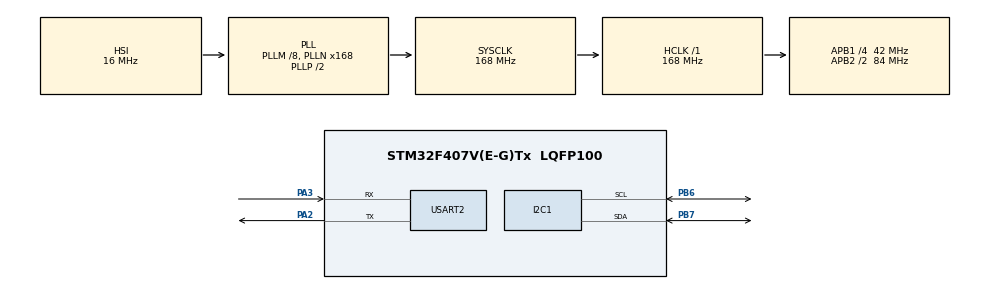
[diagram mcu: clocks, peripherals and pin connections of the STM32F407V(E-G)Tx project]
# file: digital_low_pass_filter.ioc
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Dma.I2C1_RX.1.Direction=DMA_PERIPH_TO_MEMORY
Dma.I2C1_RX.1.FIFOMode=DMA_FIFOMODE_DISABLE
Dma.I2C1_RX.1.Instance=DMA1_Stream0
Dma.I2C1_RX.1.MemDataAlignment=DMA_MDATAALIGN_BYTE
Dma.I2C1_RX.1.MemInc=DMA_MINC_ENABLE
Dma.I2C1_RX.1.Mode=DMA_NORMAL
Dma.I2C1_RX.1.PeriphDataAlignment=DMA_PDATAALIGN_BYTE
Dma.I2C1_RX.1.PeriphInc=DMA_PINC_DISABLE
Dma.I2C1_RX.1.Priority=DMA_PRIORITY_LOW
Dma.Request0=USART2_TX
Dma.Request1=I2C1_RX
Dma.USART2_TX.0.Direction=DMA_MEMORY_TO_PERIPH
Dma.USART2_TX.0.FIFOMode=DMA_FIFOMODE_DISABLE
Dma.USART2_TX.0.Instance=DMA1_Stream6
Dma.USART2_TX.0.MemDataAlignment=DMA_MDATAALIGN_BYTE
Dma.USART2_TX.0.MemInc=DMA_MINC_ENABLE
Dma.USART2_TX.0.Mode=DMA_NORMAL
Dma.USART2_TX.0.PeriphDataAlignment=DMA_PDATAALIGN_BYTE
Dma.USART2_TX.0.PeriphInc=DMA_PINC_DISABLE
Dma.USART2_TX.0.Priority=DMA_PRIORITY_LOW
I2C1.I2C_Mode=I2C_Fast
Mcu.Family=STM32F4
Mcu.Name=STM32F407V(E-G)Tx
Mcu.Package=LQFP100
NVIC.DMA1_Stream0_IRQn=true\:0\:0\:false\:false\:true\:false\:true\:true
NVIC.DMA1_Stream6_IRQn=true\:0\:0\:false\:false\:true\:false\:true\:true
NVIC.PriorityGroup=NVIC_PRIORITYGROUP_0
NVIC.TIM1_UP_TIM10_IRQn=true\:0\:0\:false\:false\:true\:true\:true\:true
NVIC.USART2_IRQn=true\:0\:0\:false\:false\:true\:true\:true\:true
PA2.Mode=Asynchronous
PA2.Signal=USART2_TX
PA3.Mode=Asynchronous
PA3.Signal=USART2_RX
PB6.Mode=I2C
PB6.Signal=I2C1_SCL
PB7.Mode=I2C
PB7.Signal=I2C1_SDA
ProjectManager.HeapSize=0x200
ProjectManager.StackSize=0x400
ProjectManager.TargetToolchain=STM32CubeIDE
RCC.48MHZClocksFreq_Value=48000000
RCC.AHBFreq_Value=168000000
RCC.APB1CLKDivider=RCC_HCLK_DIV4
RCC.APB1Freq_Value=42000000
RCC.APB1TimFreq_Value=84000000
RCC.APB2CLKDivider=RCC_HCLK_DIV2
RCC.APB2Freq_Value=84000000
RCC.APB2TimFreq_Value=168000000
RCC.CortexFreq_Value=168000000
RCC.HCLKFreq_Value=168000000
RCC.HSE_VALUE=8000000
RCC.HSI_VALUE=16000000
RCC.LSE_VALUE=32768
RCC.PLLM=8
RCC.PLLN=168
RCC.PLLQ=7
RCC.SYSCLKFreq_VALUE=168000000
RCC.SYSCLKSource=RCC_SYSCLKSOURCE_PLLCLK
RCC.VCOOutputFreq_Value=336000000
TIM1.Period=999
TIM1.Prescaler=167
USART2.VirtualMode=VM_ASYNC
VP_TIM1_VS_ClockSourceINT.Mode=Internal
board=STM32F407G-DISC1

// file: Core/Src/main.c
/* USER CODE BEGIN Header */
/**
  ******************************************************************************
  * @file           : main.c
  * @brief          : Main program body
  ******************************************************************************
  * @attention
  *
  * Copyright (c) 2025 STMicroelectronics.
  * All rights reserved.
  *
  * This software is licensed under terms that can be found in the LICENSE file
  * in the root directory of this software component.
  * If no LICENSE file comes with this software, it is provided AS-IS.
  *
  ******************************************************************************
  */
/* USER CODE END Header */
#include "main.h"

/* USER CODE BEGIN Includes */
#include "mpu6050.h"
#include <stdio.h>
#include "iir_low_pass_filter.h"
#include <math.h>
/* USER CODE END Includes */

/* USER CODE BEGIN PTD */
#define IIR_ACC_ALPHA	0.9391
#define IIR_ACC_BETA	0.0305
#define IIR_GYR_ALPHA	0.8816
#define IIR_GYR_BETA	0.0592
#define COMP_ALPHA		0.95
/* USER CODE END PTD */

I2C_HandleTypeDef hi2c1;
DMA_HandleTypeDef hdma_i2c1_rx;

TIM_HandleTypeDef htim1;

UART_HandleTypeDef huart2;
DMA_HandleTypeDef hdma_usart2_tx;

/* USER CODE BEGIN PV */
char uart_buffer[200];
MPU6050 mpu;

volatile uint8_t sample_ready_flag = 0;
volatile uint8_t uart_dma_tx_ready_flag = 1;

float acc_x = 0.0f;
float acc_y = 0.0f;
float acc_z = 0.0f;
float gyro_p = 0.0f;
float gyro_q = 0.0f;
float gyro_r = 0.0f;

float pitchHat_rad;
float rollHat_rad;

IIR_Filter_3D acc_filtered;
IIR_Filter_3D gyro_filtered;

/* USER CODE END PV */

void SystemClock_Config(void);
static void MX_GPIO_Init(void);
static void MX_DMA_Init(void);
static void MX_I2C1_Init(void);
static void MX_USART2_UART_Init(void);
static void MX_TIM1_Init(void);
/* USER CODE BEGIN PFP */
// Ensure you also have your UART DMA callback implemented:
void HAL_UART_TxCpltCallback(UART_HandleTypeDef *huart)
{
    if (huart->Instance == USART2)
    {
        uart_dma_tx_ready_flag = 1;
    }
}
void HAL_I2C_MemRxCpltCallback(I2C_HandleTypeDef *hi2c) {
    if (hi2c == mpu.i2cHandle) {
        mpu.data_ready_flag = true;

    }
}
void HAL_TIM_PeriodElapsedCallback(TIM_HandleTypeDef *htim)
{
    if (htim->Instance == TIM1)
    {
        if (mpu.data_ready_flag == 0)
        {
            MPU6050_Start_DMA(&mpu);
        }
    }
}
/* USER CODE END PFP */

int main(void)
{

  /* MCU Configuration--------------------------------------------------------*/

  /* Reset of all peripherals, Initializes the Flash interface and the Systick. */
  HAL_Init();

  /* Configure the system clock */
  SystemClock_Config();

  /* Initialize all configured peripherals */
  MX_GPIO_Init();
  MX_DMA_Init();
  MX_I2C1_Init();
  MX_USART2_UART_Init();
  MX_TIM1_Init();
  /* USER CODE BEGIN 2 */
  IIR_Filter_3D_Init(&acc_filtered, IIR_ACC_ALPHA, IIR_ACC_BETA);
  IIR_Filter_3D_Init(&gyro_filtered, IIR_GYR_ALPHA, IIR_GYR_BETA);
  MPU6050_Init(&mpu, &hi2c1);
  MPU6050_Start_DMA(&mpu);
  HAL_TIM_Base_Start_IT(&htim1);
  mpu.data_ready_flag = true;
  /* USER CODE END 2 */

  /* Infinite loop */
  while (1)
  {

    /* USER CODE BEGIN 3 */
	  if (mpu.data_ready_flag){
		  mpu.data_ready_flag = false;
		  MPU6050_Process_DMA(&mpu);

		  /*Loc thong thap */
		  IIR_Filter_3D_Update(&acc_filtered, mpu.acc[0], mpu.acc[1], mpu.acc[2], &acc_x, &acc_y, &acc_z);
		  IIR_Filter_3D_Update(&gyro_filtered, mpu.gyro[0], mpu.gyro[1], mpu.gyro[2], &gyro_p, &gyro_q, &gyro_r);

		  /*Estimate phi va theta bang acc */
		  float rollHat_acc_rad = atan2f(acc_y, acc_z);
		  float pitchHat_acc_rad = atan2f(-acc_x, sqrtf(acc_y * acc_y + acc_z * acc_z));

		  /*Toc do thay doi phi va theta bang gyr */
		  float rollDot_gyr_rps = (gyro_p + tanf(pitchHat_acc_rad) * sinf(rollHat_acc_rad) * gyro_q + tanf(pitchHat_acc_rad) * cosf(rollHat_acc_rad) * gyro_r) * (M_PI / 180.0f);
		  float pitchDot_gyr_rps = (cosf(rollHat_acc_rad) * gyro_q - sinf(rollHat_acc_rad) * gyro_r) * (M_PI / 180.0f);

		  rollHat_rad = (1.0f - COMP_ALPHA) * rollHat_acc_rad +
				  	  	COMP_ALPHA * (rollHat_rad + rollDot_gyr_rps * 0.001f );
		  pitchHat_rad = (1.0f - COMP_ALPHA) * pitchHat_acc_rad +
				  	  	COMP_ALPHA * (pitchHat_rad + pitchDot_gyr_rps * 0.001f );

		  if (uart_dma_tx_ready_flag){
			  uart_dma_tx_ready_flag = 0;
			  int len = sprintf(uart_buffer, "%.4f,%.4f\r\n",(rollHat_rad * (180.0f /M_PI)) , (pitchHat_rad * (180.0f /M_PI)));
			  HAL_UART_Transmit_DMA(&huart2, (uint8_t*) uart_buffer, len);
		  	 }
	  }

  }
  /* USER CODE END 3 */
}

void SystemClock_Config(void)
{
  RCC_OscInitTypeDef RCC_OscInitStruct = {0};
  RCC_ClkInitTypeDef RCC_ClkInitStruct = {0};

  /** Configure the main internal regulator output voltage
  */
  __HAL_RCC_PWR_CLK_ENABLE();
  __HAL_PWR_VOLTAGESCALING_CONFIG(PWR_REGULATOR_VOLTAGE_SCALE1);

  /** Initializes the RCC Oscillators according to the specified parameters
  * in the RCC_OscInitTypeDef structure.
  */
  RCC_OscInitStruct.OscillatorType = RCC_OSCILLATORTYPE_HSI;
  RCC_OscInitStruct.HSIState = RCC_HSI_ON;
  RCC_OscInitStruct.HSICalibrationValue = RCC_HSICALIBRATION_DEFAULT;
  RCC_OscInitStruct.PLL.PLLState = RCC_PLL_ON;
  RCC_OscInitStruct.PLL.PLLSource = RCC_PLLSOURCE_HSI;
  RCC_OscInitStruct.PLL.PLLM = 8;
  RCC_OscInitStruct.PLL.PLLN = 168;
  RCC_OscInitStruct.PLL.PLLP = RCC_PLLP_DIV2;
  RCC_OscInitStruct.PLL.PLLQ = 7;
  if (HAL_RCC_OscConfig(&RCC_OscInitStruct) != HAL_OK)
  {
    Error_Handler();
  }

  /** Initializes the CPU, AHB and APB buses clocks
  */
  RCC_ClkInitStruct.ClockType = RCC_CLOCKTYPE_HCLK|RCC_CLOCKTYPE_SYSCLK
                              |RCC_CLOCKTYPE_PCLK1|RCC_CLOCKTYPE_PCLK2;
  RCC_ClkInitStruct.SYSCLKSource = RCC_SYSCLKSOURCE_PLLCLK;
  RCC_ClkInitStruct.AHBCLKDivider = RCC_SYSCLK_DIV1;
  RCC_ClkInitStruct.APB1CLKDivider = RCC_HCLK_DIV4;
  RCC_ClkInitStruct.APB2CLKDivider = RCC_HCLK_DIV2;

  if (HAL_RCC_ClockConfig(&RCC_ClkInitStruct, FLASH_LATENCY_5) != HAL_OK)
  {
    Error_Handler();
  }
}

static void MX_I2C1_Init(void)
{

  hi2c1.Instance = I2C1;
  hi2c1.Init.ClockSpeed = 400000;
  hi2c1.Init.DutyCycle = I2C_DUTYCYCLE_2;
  hi2c1.Init.OwnAddress1 = 0;
  hi2c1.Init.AddressingMode = I2C_ADDRESSINGMODE_7BIT;
  hi2c1.Init.DualAddressMode = I2C_DUALADDRESS_DISABLE;
  hi2c1.Init.OwnAddress2 = 0;
  hi2c1.Init.GeneralCallMode = I2C_GENERALCALL_DISABLE;
  hi2c1.Init.NoStretchMode = I2C_NOSTRETCH_DISABLE;
  if (HAL_I2C_Init(&hi2c1) != HAL_OK)
  {
    Error_Handler();
  }

}

static void MX_TIM1_Init(void)
{

  TIM_ClockConfigTypeDef sClockSourceConfig = {0};
  TIM_MasterConfigTypeDef sMasterConfig = {0};

  htim1.Instance = TIM1;
  htim1.Init.Prescaler = 167;
  htim1.Init.CounterMode = TIM_COUNTERMODE_UP;
  htim1.Init.Period = 999;
  htim1.Init.ClockDivision = TIM_CLOCKDIVISION_DIV1;
  htim1.Init.RepetitionCounter = 0;
  htim1.Init.AutoReloadPreload = TIM_AUTORELOAD_PRELOAD_DISABLE;
  if (HAL_TIM_Base_Init(&htim1) != HAL_OK)
  {
    Error_Handler();
  }
  sClockSourceConfig.ClockSource = TIM_CLOCKSOURCE_INTERNAL;
  if (HAL_TIM_ConfigClockSource(&htim1, &sClockSourceConfig) != HAL_OK)
  {
    Error_Handler();
  }
  sMasterConfig.MasterOutputTrigger = TIM_TRGO_RESET;
  sMasterConfig.MasterSlaveMode = TIM_MASTERSLAVEMODE_DISABLE;
  if (HAL_TIMEx_MasterConfigSynchronization(&htim1, &sMasterConfig) != HAL_OK)
  {
    Error_Handler();
  }

}

static void MX_USART2_UART_Init(void)
{

  huart2.Instance = USART2;
  huart2.Init.BaudRate = 115200;
  huart2.Init.WordLength = UART_WORDLENGTH_8B;
  huart2.Init.StopBits = UART_STOPBITS_1;
  huart2.Init.Parity = UART_PARITY_NONE;
  huart2.Init.Mode = UART_MODE_TX_RX;
  huart2.Init.HwFlowCtl = UART_HWCONTROL_NONE;
  huart2.Init.OverSampling = UART_OVERSAMPLING_16;
  if (HAL_UART_Init(&huart2) != HAL_OK)
  {
    Error_Handler();
  }

}

static void MX_DMA_Init(void)
{

  /* DMA controller clock enable */
  __HAL_RCC_DMA1_CLK_ENABLE();

  /* DMA interrupt init */
  /* DMA1_Stream0_IRQn interrupt configuration */
  HAL_NVIC_SetPriority(DMA1_Stream0_IRQn, 0, 0);
  HAL_NVIC_EnableIRQ(DMA1_Stream0_IRQn);
  /* DMA1_Stream6_IRQn interrupt configuration */
  HAL_NVIC_SetPriority(DMA1_Stream6_IRQn, 0, 0);
  HAL_NVIC_EnableIRQ(DMA1_Stream6_IRQn);

}

static void MX_GPIO_Init(void)
{

  /* GPIO Ports Clock Enable */
  __HAL_RCC_GPIOA_CLK_ENABLE();
  __HAL_RCC_GPIOB_CLK_ENABLE();

}

void Error_Handler(void)
{
  __disable_irq();
  while (1)
  {
  }
}
